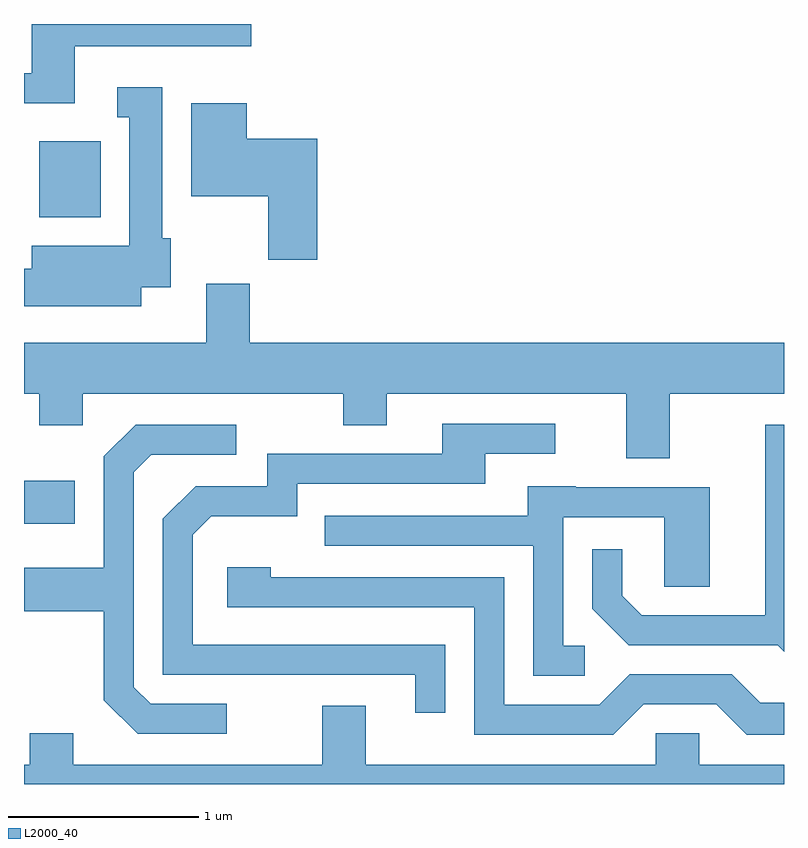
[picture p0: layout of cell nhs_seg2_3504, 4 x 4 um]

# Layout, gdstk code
import gdstk
lib = gdstk.Library(unit=1e-6, precision=1e-09)
def R(c, l, rs):  # rectangles x0, y0, x1, y1
    for r in rs: c.add(gdstk.rectangle(r[:2], r[2:], *l))
def P(c, l, *ps):  # polygons
    for p in ps: c.add(gdstk.Polygon(p, *l))
L2000_40 = (2000, 40)

nhs_seg2_3504 = lib.new_cell('nhs_seg2_3504')
R(nhs_seg2_3504, L2000_40, [(287.611,1063.171,287.879,1063.399), (287.691,1064.786,288.014,1065.184)])
P(nhs_seg2_3504, L2000_40, [(287.879,1065.686),(288.808,1065.686),(288.808,1065.802),(287.651,1065.802),(287.651,1065.544),(287.611,1065.544),(287.611,1065.386),(287.879,1065.386)],
  [(288.229,1064.416),(288.384,1064.416),(288.384,1064.674),(288.339,1064.674),(288.339,1065.469),(288.103,1065.469),(288.103,1065.311),(288.166,1065.311),(288.166,1064.634),(287.651,1064.634),(287.651,1064.514),(287.611,1064.514),(287.611,1064.316),(288.229,1064.316)],
  [(289.154,1065.199),(288.784,1065.199),(288.784,1065.384),(288.491,1065.384),(288.491,1064.896),(288.896,1064.896),(288.896,1064.561),(289.154,1064.561)],
  [(291.009,1063.856),(291.611,1063.856),(291.611,1064.124),(288.799,1064.124),(288.799,1064.434),(288.571,1064.434),(288.571,1064.124),(287.611,1064.124),(287.611,1063.856),(287.691,1063.856),(287.691,1063.691),(287.919,1063.691),(287.919,1063.856),(289.291,1063.856),(289.291,1063.691),(289.519,1063.691),(289.519,1063.856),(290.781,1063.856),(290.781,1063.516),(291.009,1063.516)],
  [(289.829,1062.534),(288.499,1062.534),(288.499,1063.114),(288.597,1063.211),(289.049,1063.211),(289.049,1063.381),(290.039,1063.381),(290.039,1063.541),(290.408,1063.541),(290.408,1063.699),(289.811,1063.699),(289.811,1063.539),(288.891,1063.539),(288.891,1063.369),(288.514,1063.369),(288.341,1063.197),(288.341,1062.376),(289.671,1062.376),(289.671,1062.178),(289.829,1062.178)],
  [(291.611,1063.694),(291.511,1063.694),(291.511,1062.689),(290.862,1062.689),(290.759,1062.792),(290.759,1063.038),(290.601,1063.038),(290.601,1062.724),(290.794,1062.531),(291.579,1062.531),(291.611,1062.499)],
  [(288.678,1062.224),(288.277,1062.224),(288.189,1062.312),(288.189,1063.444),(288.282,1063.536),(288.728,1063.536),(288.728,1063.694),(288.199,1063.694),(288.031,1063.527),(288.031,1062.939),(287.611,1062.939),(287.611,1062.711),(288.031,1062.711),(288.031,1062.244),(288.209,1062.066),(288.678,1062.066)],
  [(290.563,1062.529),(290.449,1062.529),(290.449,1063.206),(290.981,1063.206),(290.981,1062.841),(291.219,1062.841),(291.219,1063.364),(290.515,1063.364),(290.515,1063.369),(290.261,1063.369),(290.261,1063.214),(289.193,1063.214),(289.193,1063.056),(290.291,1063.056),(290.291,1062.371),(290.563,1062.371)],
  [(290.872,1062.221),(291.254,1062.221),(291.414,1062.061),(291.611,1062.061),(291.611,1062.229),(291.487,1062.229),(291.337,1062.379),(290.799,1062.379),(290.639,1062.219),(290.139,1062.219),(290.139,1062.889),(288.909,1062.889),(288.909,1062.944),(288.681,1062.944),(288.681,1062.731),(289.981,1062.731),(289.981,1062.061),(290.712,1062.061)],
  [(291.611,1061.904),(291.164,1061.904),(291.164,1062.069),(290.936,1062.069),(290.936,1061.904),(289.409,1061.904),(289.409,1062.214),(289.181,1062.214),(289.181,1061.904),(287.869,1061.904),(287.869,1062.069),(287.641,1062.069),(287.641,1061.904),(287.611,1061.904),(287.611,1061.802),(291.611,1061.802)])

lib.write_gds('nhs_seg2_3504.gds')
